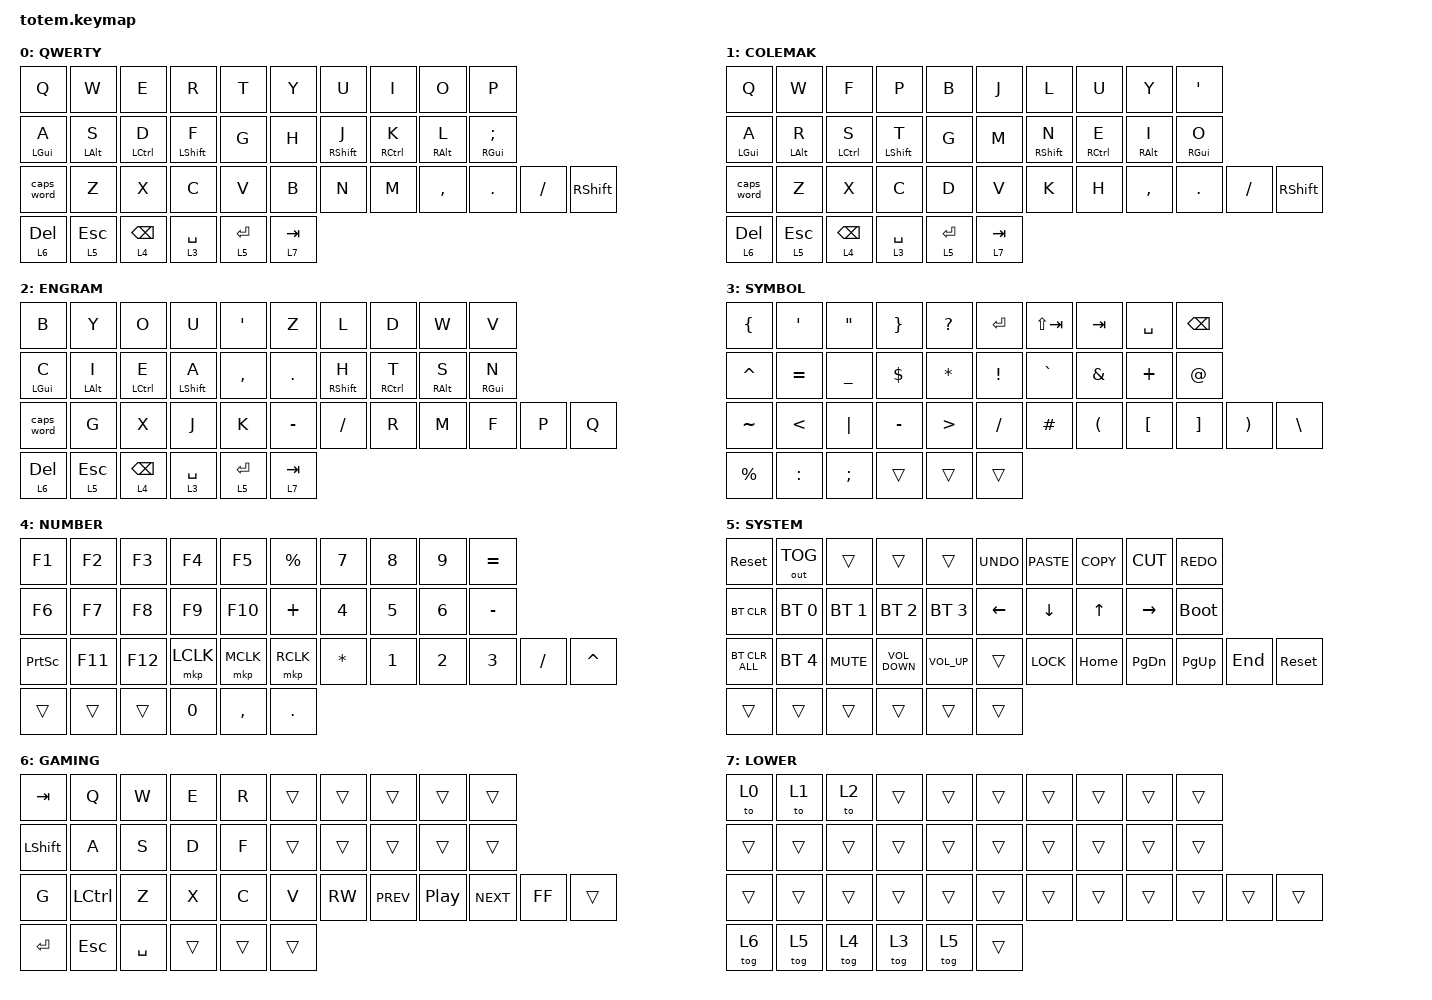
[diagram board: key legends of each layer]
//
//                                                        ▀▀▀▀▀     ▀▀▀▀▀          ▀▀█▀▀
//                                                        ▄▀▀▀▄  ▄  ▄▀▀▀▄  ▄  ▄▀▀▀▄  █  ▄▀▀▀▄
//                                                        █   █  █  █   █  █  █   █  █  █   █
//                                                         ▀▀▀   █   ▀▀▀   █   ▀▀▀   ▀   ▀▀▀
//                                                               █      ▄▄▄█▄▄▄    █   █  
//                                                               ▀      █  █  █     █▄█
//                                                             ▀▀▀▀▀    █  █  █      ▀
//                                                                      ▀  ▀  ▀
//
// ▄▄▄▄▄▄▄▄▄▄▄▄▄▄▄▄▄▄▄▄▄▄▄▄▄▄▄▄▄▄▄▄▄▄▄▄▄▄▄▄▄▄▄▄▄▄▄▄▄▄▄▄▄▄▄▄▄▄▄▄▄▄▄▄▄▄▄▄▄▄▄▄▄▄▄▄▄▄▄▄▄▄▄▄▄▄▄▄▄▄▄▄▄▄▄▄▄▄▄▄▄▄▄▄▄▄▄▄▄▄▄▄▄▄▄▄▄▄▄▄▄▄▄▄▄▄▄▄▄▄▄▄▄▄▄▄▄▄▄▄▄▄▄▄▄▄▄▄▄

#include <behaviors.dtsi>
#include <dt-bindings/zmk/bt.h>
#include <dt-bindings/zmk/keys.h>
#include <dt-bindings/zmk/outputs.h>
#include <dt-bindings/zmk/pointing.h>

// Layer definitions

#define QWERTY  0
#define COLEMAK 1
#define ENGRAM  2
#define SYMBOL  3
#define NUMBER  4
#define SYSTEM  5
#define GAMING  6
#define LOWER   7

/ {
    behaviors {
        td0: td0 {
            compatible = "zmk,behavior-tap-dance";
            display-name = "Shift/Caps Lock Tap Dance";
            #binding-cells = <0>;
            bindings = <&kp LEFT_SHIFT>, <&kp CAPS>;
        };

        hrm_left: hrm_left {
            compatible = "zmk,behavior-hold-tap";
            label = "HRM_LEFT";
            bindings = <&kp>, <&kp>;

            #binding-cells = <2>;
            flavor = "tap-preferred";
            tapping-term-ms = <250>;
            quick-tap-ms = <300>;
            require-prior-idle-ms = <150>;
            hold-trigger-on-release;

            // Right side keys for TOTEM (38 keys)

            hold-trigger-key-positions = <5 6 7 8 9 15 16 17 18 19 26 27 28 29 30 31 35 36 37>;
        };

        hrm_right: hrm_right {
            compatible = "zmk,behavior-hold-tap";
            label = "HRM_RIGHT";
            bindings = <&kp>, <&kp>;

            #binding-cells = <2>;
            flavor = "tap-preferred";
            tapping-term-ms = <250>;
            quick-tap-ms = <300>;
            require-prior-idle-ms = <150>;
            hold-trigger-on-release;

            // Left side keys for TOTEM (38 keys)

            hold-trigger-key-positions = <0 1 2 3 4 10 11 12 13 14 20 21 22 23 24 25 32 33 34>;
        };

        layer_tap: layer_tap {
            compatible = "zmk,behavior-hold-tap";
            label = "LAYER_TAP";
            bindings = <&mo>, <&kp>;

            #binding-cells = <2>;
            quick-tap-ms = <150>;
            flavor = "balanced";
            tapping-term-ms = <170>;
        };
    };

    combos {
        compatible = "zmk,combos";

        combo_esc {
            timeout-ms = <50>;
            key-positions = <0 1>;
            bindings = <&kp ESC>;
        };
    };

    keymap {
        compatible = "zmk,keymap";

        // ▄▄▄▄▄▄▄▄▄▄▄▄▄▄▄▄▄▄▄▄▄▄▄▄▄▄▄▄▄▄▄▄▄▄▄▄▄▄▄▄▄▄▄▄▄▄▄▄▄▄▄▄▄▄▄▄▄▄▄▄▄▄▄▄▄▄▄▄▄▄▄▄▄▄▄▄▄▄▄▄▄▄▄▄▄▄▄▄▄▄▄▄▄▄▄▄▄▄▄▄▄▄▄▄▄▄▄▄▄▄▄▄▄▄▄▄▄▄▄▄▄▄▄▄▄▄▄▄▄▄▄▄▄▄▄▄▄▄▄▄▄▄▄▄▄▄▄▄▄

        qwerty_layer {
            // ┏━━━━━━━━━━━━━━━━━━━━━━━━━━━━━━━━━━━━━━━┓

            label = "QWERTY";

            // ┗━━━━━━━━━━━━━━━━━━━━━━━━━━━━━━━━━━━━━━━┛
            //             ┏━━━━━━━━━━━┳━━━━━━━━━━━┳━━━━━━━━━━━┳━━━━━━━━━━━┳━━━━━━━━━━━┓   ┏━━━━━━━━━━━┳━━━━━━━━━━━┳━━━━━━━━━━━┳━━━━━━━━━━━┳━━━━━━━━━━━┓
            //             ┃     Q     ┃     W     ┃     E     ┃     R     ┃     T     ┃   ┃     Y     ┃     U     ┃     I     ┃     O     ┃     P     ┃
            //             ┣━━━━━━━━━━━╋━━━━━━━━━━━╋━━━━━━━━━━━╋━━━━━━━━━━━╋━━━━━━━━━━━┫   ┣━━━━━━━━━━━╋━━━━━━━━━━━╋━━━━━━━━━━━╋━━━━━━━━━━━╋━━━━━━━━━━━┫
            //             ┃  A (GUI)  ┃  S (ALT)  ┃  D (CTRL) ┃  F (SHFT) ┃     G     ┃   ┃     H     ┃  J (SHFT) ┃  K (CTRL) ┃  L (ALT)  ┃  ; (GUI)  ┃
            // ┏━━━━━━━━━━━╋━━━━━━━━━━━╋━━━━━━━━━━━╋━━━━━━━━━━━╋━━━━━━━━━━━╋━━━━━━━━━━━┫   ┣━━━━━━━━━━━╋━━━━━━━━━━━╋━━━━━━━━━━━╋━━━━━━━━━━━╋━━━━━━━━━━━╋━━━━━━━━━━━┓
            // ┃   SHIFT   ┃     Z     ┃     X     ┃     C     ┃     V     ┃     B     ┃   ┃     N     ┃     M     ┃     ,     ┃     .     ┃     /     ┃    TAB    ┃
            // ┗━━━━━━━━━━━┻━━━━━━━━━━━┻━━━━━━━━━━━╋━━━━━━━━━━━╋━━━━━━━━━━━╋━━━━━━━━━━━┫   ┣━━━━━━━━━━━╋━━━━━━━━━━━╋━━━━━━━━━━━╋━━━━━━━━━━━┻━━━━━━━━━━━┻━━━━━━━━━━━┛
            //                                     ┃  DEL/GAM  ┃  ESC/SYS  ┃  BSPC/NUM ┃   ┃  SPC/SYM  ┃  ENT/SYS  ┃  TAB/LOW  ┃
            //                                     ┗━━━━━━━━━━━┻━━━━━━━━━━━┻━━━━━━━━━━━┛   ┗━━━━━━━━━━━┻━━━━━━━━━━━┻━━━━━━━━━━━┛

            bindings = <
&kp Q                &kp W             &kp E                   &kp R               &kp T               &kp Y             &kp U               &kp I               &kp O              &kp P
&hrm_left LGUI A     &hrm_left LALT S  &hrm_left LCTRL D       &hrm_left LSHFT F   &kp G               &kp H             &hrm_right RSHFT J  &hrm_right RCTRL K  &hrm_right RALT L  &hrm_right RGUI SEMI
&caps_word           &kp Z             &kp X                   &kp C               &kp V               &kp B             &kp N               &kp M               &kp COMMA          &kp DOT               &kp FSLH  &kp RIGHT_SHIFT
&layer_tap 6 DELETE  &layer_tap 5 ESC  &layer_tap 4 BACKSPACE  &layer_tap 3 SPACE  &layer_tap 5 ENTER  &layer_tap 7 TAB
            >;
        };

        // ▄▄▄▄▄▄▄▄▄▄▄▄▄▄▄▄▄▄▄▄▄▄▄▄▄▄▄▄▄▄▄▄▄▄▄▄▄▄▄▄▄▄▄▄▄▄▄▄▄▄▄▄▄▄▄▄▄▄▄▄▄▄▄▄▄▄▄▄▄▄▄▄▄▄▄▄▄▄▄▄▄▄▄▄▄▄▄▄▄▄▄▄▄▄▄▄▄▄▄▄▄▄▄▄▄▄▄▄▄▄▄▄▄▄▄▄▄▄▄▄▄▄▄▄▄▄▄▄▄▄▄▄▄▄▄▄▄▄▄▄▄▄▄▄▄▄▄▄▄

        colemak_layer {
            // ┏━━━━━━━━━━━━━━━━━━━━━━━━━━━━━━━━━━━━━━━┓

            label = "COLEMAK";

            // ┗━━━━━━━━━━━━━━━━━━━━━━━━━━━━━━━━━━━━━━━┛

            bindings = <
&kp Q                &kp W             &kp F                   &kp P               &kp B               &kp J             &kp L               &kp U               &kp Y              &kp APOS
&hrm_left LGUI A     &hrm_left LALT R  &hrm_left LCTRL S       &hrm_left LSHFT T   &kp G               &kp M             &hrm_right RSHFT N  &hrm_right RCTRL E  &hrm_right RALT I  &hrm_right RGUI O
&caps_word           &kp Z             &kp X                   &kp C               &kp D               &kp V             &kp K               &kp H               &kp COMMA          &kp DOT            &kp FSLH  &kp RIGHT_SHIFT
&layer_tap 6 DELETE  &layer_tap 5 ESC  &layer_tap 4 BACKSPACE  &layer_tap 3 SPACE  &layer_tap 5 ENTER  &layer_tap 7 TAB
            >;
        };

        // ▄▄▄▄▄▄▄▄▄▄▄▄▄▄▄▄▄▄▄▄▄▄▄▄▄▄▄▄▄▄▄▄▄▄▄▄▄▄▄▄▄▄▄▄▄▄▄▄▄▄▄▄▄▄▄▄▄▄▄▄▄▄▄▄▄▄▄▄▄▄▄▄▄▄▄▄▄▄▄▄▄▄▄▄▄▄▄▄▄▄▄▄▄▄▄▄▄▄▄▄▄▄▄▄▄▄▄▄▄▄▄▄▄▄▄▄▄▄▄▄▄▄▄▄▄▄▄▄▄▄▄▄▄▄▄▄▄▄▄▄▄▄▄▄▄▄▄▄▄

        engram_layer {
            // ┏━━━━━━━━━━━━━━━━━━━━━━━━━━━━━━━━━━━━━━━┓

            label = "ENGRAM";

            // ┗━━━━━━━━━━━━━━━━━━━━━━━━━━━━━━━━━━━━━━━┛

            bindings = <
&kp B                &kp Y             &kp O                   &kp U               &kp APOS            &kp Z             &kp L               &kp D               &kp W              &kp V
&hrm_left LGUI C     &hrm_left LALT I  &hrm_left LCTRL E       &hrm_left LSHFT A   &kp COMMA           &kp DOT           &hrm_right RSHFT H  &hrm_right RCTRL T  &hrm_right RALT S  &hrm_right RGUI N
&caps_word           &kp G             &kp X                   &kp J               &kp K               &kp MINUS         &kp FSLH            &kp R               &kp M              &kp F              &kp P  &kp Q
&layer_tap 6 DELETE  &layer_tap 5 ESC  &layer_tap 4 BACKSPACE  &layer_tap 3 SPACE  &layer_tap 5 ENTER  &layer_tap 7 TAB
            >;
        };

        // ▄▄▄▄▄▄▄▄▄▄▄▄▄▄▄▄▄▄▄▄▄▄▄▄▄▄▄▄▄▄▄▄▄▄▄▄▄▄▄▄▄▄▄▄▄▄▄▄▄▄▄▄▄▄▄▄▄▄▄▄▄▄▄▄▄▄▄▄▄▄▄▄▄▄▄▄▄▄▄▄▄▄▄▄▄▄▄▄▄▄▄▄▄▄▄▄▄▄▄▄▄▄▄▄▄▄▄▄▄▄▄▄▄▄▄▄▄▄▄▄▄▄▄▄▄▄▄▄▄▄▄▄▄▄▄▄▄▄▄▄▄▄▄▄▄▄▄▄▄

        symbol_layer {
            // ┏━━━━━━━━━━━━━━━━━━━━━━━━━━━━━━━━━━━━━━━┓

            label = "SYMBOL";

            // ┗━━━━━━━━━━━━━━━━━━━━━━━━━━━━━━━━━━━━━━━┛
            //             ┏━━━━━━━━━━━┳━━━━━━━━━━━┳━━━━━━━━━━━┳━━━━━━━━━━━┳━━━━━━━━━━━┓   ┏━━━━━━━━━━━┳━━━━━━━━━━━┳━━━━━━━━━━━┳━━━━━━━━━━━┳━━━━━━━━━━━┓
            //             ┃     {     ┃     '     ┃     "     ┃     }     ┃     ?     ┃   ┃   ENTER   ┃  SH+TAB   ┃    TAB    ┃   SPACE   ┃   BSPC    ┃
            //             ┣━━━━━━━━━━━╋━━━━━━━━━━━╋━━━━━━━━━━━╋━━━━━━━━━━━╋━━━━━━━━━━━┫   ┣━━━━━━━━━━━╋━━━━━━━━━━━╋━━━━━━━━━━━╋━━━━━━━━━━━╋━━━━━━━━━━━┫
            //             ┃     ^     ┃     =     ┃     _     ┃     $     ┃     *     ┃   ┃     .     ┃     `     ┃     &     ┃     +     ┃     @     ┃
            // ┏━━━━━━━━━━━╋━━━━━━━━━━━╋━━━━━━━━━━━╋━━━━━━━━━━━╋━━━━━━━━━━━╋━━━━━━━━━━━┫   ┣━━━━━━━━━━━╋━━━━━━━━━━━╋━━━━━━━━━━━╋━━━━━━━━━━━╋━━━━━━━━━━━╋━━━━━━━━━━━┓
            // ┃     ~     ┃     <     ┃     |     ┃     -     ┃     >     ┃     /     ┃   ┃     ,     ┃     (     ┃     [     ┃     ]     ┃     )     ┃     \     ┃
            // ┗━━━━━━━━━━━┻━━━━━━━━━━━┻━━━━━━━━━━━╋━━━━━━━━━━━╋━━━━━━━━━━━╋━━━━━━━━━━━┫   ┣━━━━━━━━━━━╋━━━━━━━━━━━╋━━━━━━━━━━━╋━━━━━━━━━━━┻━━━━━━━━━━━┻━━━━━━━━━━━┛
            //                                     ┃     %     ┃     :     ┃     ;     ┃   ┃   (held)  ┃           ┃           ┃
            //                                     ┗━━━━━━━━━━━┻━━━━━━━━━━━┻━━━━━━━━━━━┛   ┗━━━━━━━━━━━┻━━━━━━━━━━━┻━━━━━━━━━━━┛

            bindings = <
&kp LEFT_BRACE  &kp SQT        &kp DOUBLE_QUOTES  &kp RIGHT_BRACE  &kp QUESTION      &kp ENTER  &kp LS(TAB)  &kp TAB               &kp SPACE         &kp BACKSPACE
&kp CARET       &kp EQUAL      &kp UNDERSCORE     &kp DOLLAR       &kp ASTERISK      &kp EXCL   &kp GRAVE    &kp AMPERSAND         &kp PLUS          &kp AT
&kp TILDE       &kp LESS_THAN  &kp PIPE           &kp MINUS        &kp GREATER_THAN  &kp SLASH  &kp HASH     &kp LEFT_PARENTHESIS  &kp LEFT_BRACKET  &kp RIGHT_BRACKET  &kp RIGHT_PARENTHESIS  &kp BACKSLASH
&kp PERCENT     &kp COLON      &kp SEMICOLON      &trans           &trans            &trans
            >;
        };

        // ▄▄▄▄▄▄▄▄▄▄▄▄▄▄▄▄▄▄▄▄▄▄▄▄▄▄▄▄▄▄▄▄▄▄▄▄▄▄▄▄▄▄▄▄▄▄▄▄▄▄▄▄▄▄▄▄▄▄▄▄▄▄▄▄▄▄▄▄▄▄▄▄▄▄▄▄▄▄▄▄▄▄▄▄▄▄▄▄▄▄▄▄▄▄▄▄▄▄▄▄▄▄▄▄▄▄▄▄▄▄▄▄▄▄▄▄▄▄▄▄▄▄▄▄▄▄▄▄▄▄▄▄▄▄▄▄▄▄▄▄▄▄▄▄▄▄▄▄▄

        number_layer {
            // ┏━━━━━━━━━━━━━━━━━━━━━━━━━━━━━━━━━━━━━━━┓

            label = "NUMBER";

            // ┗━━━━━━━━━━━━━━━━━━━━━━━━━━━━━━━━━━━━━━━┛
            //             ┏━━━━━━━━━━━┳━━━━━━━━━━━┳━━━━━━━━━━━┳━━━━━━━━━━━┳━━━━━━━━━━━┓   ┏━━━━━━━━━━━┳━━━━━━━━━━━┳━━━━━━━━━━━┳━━━━━━━━━━━┳━━━━━━━━━━━┓
            //             ┃    F1     ┃    F2     ┃    F3     ┃    F4     ┃    F5     ┃   ┃     %     ┃     7     ┃     8     ┃     9     ┃     =     ┃
            //             ┣━━━━━━━━━━━╋━━━━━━━━━━━╋━━━━━━━━━━━╋━━━━━━━━━━━╋━━━━━━━━━━━┫   ┣━━━━━━━━━━━╋━━━━━━━━━━━╋━━━━━━━━━━━╋━━━━━━━━━━━╋━━━━━━━━━━━┫
            //             ┃    F6     ┃    F7     ┃    F8     ┃    F9     ┃   F10     ┃   ┃     +     ┃     4     ┃     5     ┃     6     ┃     -     ┃
            // ┏━━━━━━━━━━━╋━━━━━━━━━━━╋━━━━━━━━━━━╋━━━━━━━━━━━╋━━━━━━━━━━━╋━━━━━━━━━━━┫   ┣━━━━━━━━━━━╋━━━━━━━━━━━╋━━━━━━━━━━━╋━━━━━━━━━━━╋━━━━━━━━━━━╋━━━━━━━━━━━┓
            // ┃  PRTSCR   ┃   F11     ┃   F12     ┃           ┃           ┃           ┃   ┃     *     ┃     1     ┃     2     ┃     3     ┃     /     ┃     ^     ┃
            // ┗━━━━━━━━━━━┻━━━━━━━━━━━┻━━━━━━━━━━━╋━━━━━━━━━━━╋━━━━━━━━━━━╋━━━━━━━━━━━┫   ┣━━━━━━━━━━━╋━━━━━━━━━━━╋━━━━━━━━━━━╋━━━━━━━━━━━┻━━━━━━━━━━━┻━━━━━━━━━━━┛
            //                                     ┃           ┃           ┃   (held)  ┃   ┃     0     ┃     ,     ┃     .     ┃
            //                                     ┗━━━━━━━━━━━┻━━━━━━━━━━━┻━━━━━━━━━━━┛   ┗━━━━━━━━━━━┻━━━━━━━━━━━┻━━━━━━━━━━━┛

            bindings = <
&kp F1           &kp F2   &kp F3   &kp F4     &kp F5     &kp PERCENT  &kp N7        &kp N8  &kp N9  &kp EQUAL
&kp F6           &kp F7   &kp F8   &kp F9     &kp F10    &kp PLUS     &kp N4        &kp N5  &kp N6  &kp MINUS
&kp PRINTSCREEN  &kp F11  &kp F12  &mkp LCLK  &mkp MCLK  &mkp RCLK    &kp ASTERISK  &kp N1  &kp N2  &kp N3     &kp FSLH  &kp CARET
&trans           &trans   &trans   &kp N0     &kp COMMA  &kp DOT
            >;
        };

        // ▄▄▄▄▄▄▄▄▄▄▄▄▄▄▄▄▄▄▄▄▄▄▄▄▄▄▄▄▄▄▄▄▄▄▄▄▄▄▄▄▄▄▄▄▄▄▄▄▄▄▄▄▄▄▄▄▄▄▄▄▄▄▄▄▄▄▄▄▄▄▄▄▄▄▄▄▄▄▄▄▄▄▄▄▄▄▄▄▄▄▄▄▄▄▄▄▄▄▄▄▄▄▄▄▄▄▄▄▄▄▄▄▄▄▄▄▄▄▄▄▄▄▄▄▄▄▄▄▄▄▄▄▄▄▄▄▄▄▄▄▄▄▄▄▄▄▄▄▄

        system_layer {
            // ┏━━━━━━━━━━━━━━━━━━━━━━━━━━━━━━━━━━━━━━━┓

            label = "SYSTEM";

            // ┗━━━━━━━━━━━━━━━━━━━━━━━━━━━━━━━━━━━━━━━┛
            //             ┏━━━━━━━━━━━┳━━━━━━━━━━━┳━━━━━━━━━━━┳━━━━━━━━━━━┳━━━━━━━━━━━┓   ┏━━━━━━━━━━━┳━━━━━━━━━━━┳━━━━━━━━━━━┳━━━━━━━━━━━┳━━━━━━━━━━━┓
            //             ┃   RESET   ┃  OUT TOG  ┃           ┃           ┃           ┃   ┃   UNDO    ┃   PASTE   ┃   COPY    ┃    CUT    ┃   REDO    ┃
            //             ┣━━━━━━━━━━━╋━━━━━━━━━━━╋━━━━━━━━━━━╋━━━━━━━━━━━╋━━━━━━━━━━━┫   ┣━━━━━━━━━━━╋━━━━━━━━━━━╋━━━━━━━━━━━╋━━━━━━━━━━━╋━━━━━━━━━━━┫
            //             ┃  BT CLR   ┃   BT 0    ┃   BT 1    ┃   BT 2    ┃   BT 3    ┃   ┃   LEFT    ┃   DOWN    ┃    UP     ┃   RIGHT   ┃  BOOTLDR  ┃
            // ┏━━━━━━━━━━━╋━━━━━━━━━━━╋━━━━━━━━━━━╋━━━━━━━━━━━╋━━━━━━━━━━━╋━━━━━━━━━━━┫   ┣━━━━━━━━━━━╋━━━━━━━━━━━╋━━━━━━━━━━━╋━━━━━━━━━━━╋━━━━━━━━━━━╋━━━━━━━━━━━┓
            // ┃ BT CLRALL ┃   BT 4    ┃           ┃           ┃           ┃           ┃   ┃   LOCK    ┃   HOME    ┃  PG DOWN  ┃  PG UP    ┃    END    ┃  SYS RST  ┃
            // ┗━━━━━━━━━━━┻━━━━━━━━━━━┻━━━━━━━━━━━╋━━━━━━━━━━━╋━━━━━━━━━━━╋━━━━━━━━━━━┫   ┣━━━━━━━━━━━╋━━━━━━━━━━━╋━━━━━━━━━━━╋━━━━━━━━━━━┻━━━━━━━━━━━┻━━━━━━━━━━━┛
            //                                     ┃           ┃   (held)  ┃           ┃   ┃           ┃   (held)  ┃           ┃
            //                                     ┗━━━━━━━━━━━┻━━━━━━━━━━━┻━━━━━━━━━━━┛   ┗━━━━━━━━━━━┻━━━━━━━━━━━┻━━━━━━━━━━━┛

            bindings = <
&sys_reset      &out OUT_TOG  &trans        &trans             &trans           &kp K_UNDO  &kp K_PASTE  &kp K_COPY  &kp K_CUT  &kp K_REDO
&bt BT_CLR      &bt BT_SEL 0  &bt BT_SEL 1  &bt BT_SEL 2       &bt BT_SEL 3     &kp LEFT    &kp DOWN     &kp UP      &kp RIGHT  &bootloader
&bt BT_CLR_ALL  &bt BT_SEL 4  &kp C_MUTE    &kp C_VOLUME_DOWN  &kp C_VOLUME_UP  &trans      &kp K_LOCK   &kp HOME    &kp PG_DN  &kp PG_UP    &kp END  &sys_reset
&trans          &trans        &trans        &trans             &trans           &trans
            >;
        };

        // ▄▄▄▄▄▄▄▄▄▄▄▄▄▄▄▄▄▄▄▄▄▄▄▄▄▄▄▄▄▄▄▄▄▄▄▄▄▄▄▄▄▄▄▄▄▄▄▄▄▄▄▄▄▄▄▄▄▄▄▄▄▄▄▄▄▄▄▄▄▄▄▄▄▄▄▄▄▄▄▄▄▄▄▄▄▄▄▄▄▄▄▄▄▄▄▄▄▄▄▄▄▄▄▄▄▄▄▄▄▄▄▄▄▄▄▄▄▄▄▄▄▄▄▄▄▄▄▄▄▄▄▄▄▄▄▄▄▄▄▄▄▄▄▄▄▄▄▄▄

        gaming_layer {
            // ┏━━━━━━━━━━━━━━━━━━━━━━━━━━━━━━━━━━━━━━━┓

            label = "GAMING";

            // ┗━━━━━━━━━━━━━━━━━━━━━━━━━━━━━━━━━━━━━━━┛
            //             ┏━━━━━━━━━━━┳━━━━━━━━━━━┳━━━━━━━━━━━┳━━━━━━━━━━━┳━━━━━━━━━━━┓   ┏━━━━━━━━━━━┳━━━━━━━━━━━┳━━━━━━━━━━━┳━━━━━━━━━━━┳━━━━━━━━━━━┓
            //             ┃    TAB    ┃     Q     ┃     W     ┃     E     ┃     R     ┃   ┃           ┃           ┃           ┃           ┃           ┃
            //             ┣━━━━━━━━━━━╋━━━━━━━━━━━╋━━━━━━━━━━━╋━━━━━━━━━━━╋━━━━━━━━━━━┫   ┣━━━━━━━━━━━╋━━━━━━━━━━━╋━━━━━━━━━━━╋━━━━━━━━━━━╋━━━━━━━━━━━┫
            //             ┃   SHIFT   ┃     A     ┃     S     ┃     D     ┃     F     ┃   ┃           ┃           ┃           ┃           ┃           ┃
            // ┏━━━━━━━━━━━╋━━━━━━━━━━━╋━━━━━━━━━━━╋━━━━━━━━━━━╋━━━━━━━━━━━╋━━━━━━━━━━━┫   ┣━━━━━━━━━━━╋━━━━━━━━━━━╋━━━━━━━━━━━╋━━━━━━━━━━━╋━━━━━━━━━━━╋━━━━━━━━━━━┓
            // ┃     G     ┃   CTRL    ┃     Z     ┃     X     ┃     C     ┃     V     ┃   ┃    RW     ┃   PREV    ┃ PLAY/PAUS ┃   NEXT    ┃    FF     ┃           ┃
            // ┗━━━━━━━━━━━┻━━━━━━━━━━━┻━━━━━━━━━━━╋━━━━━━━━━━━╋━━━━━━━━━━━╋━━━━━━━━━━━┫   ┣━━━━━━━━━━━╋━━━━━━━━━━━╋━━━━━━━━━━━╋━━━━━━━━━━━┻━━━━━━━━━━━┻━━━━━━━━━━━┛
            //                                     ┃   ENTER   ┃    ESC    ┃   SPACE   ┃   ┃           ┃           ┃           ┃
            //                                     ┗━━━━━━━━━━━┻━━━━━━━━━━━┻━━━━━━━━━━━┛   ┗━━━━━━━━━━━┻━━━━━━━━━━━┻━━━━━━━━━━━┛

            bindings = <
&kp TAB    &kp Q      &kp W      &kp E   &kp R   &trans  &trans    &trans      &trans    &trans
&kp LSHFT  &kp A      &kp S      &kp D   &kp F   &trans  &trans    &trans      &trans    &trans
&kp G      &kp LCTRL  &kp Z      &kp X   &kp C   &kp V   &kp C_RW  &kp C_PREV  &kp C_PP  &kp C_NEXT  &kp C_FF  &trans
&kp ENTER  &kp ESC    &kp SPACE  &trans  &trans  &trans
            >;
        };

        // ▄▄▄▄▄▄▄▄▄▄▄▄▄▄▄▄▄▄▄▄▄▄▄▄▄▄▄▄▄▄▄▄▄▄▄▄▄▄▄▄▄▄▄▄▄▄▄▄▄▄▄▄▄▄▄▄▄▄▄▄▄▄▄▄▄▄▄▄▄▄▄▄▄▄▄▄▄▄▄▄▄▄▄▄▄▄▄▄▄▄▄▄▄▄▄▄▄▄▄▄▄▄▄▄▄▄▄▄▄▄▄▄▄▄▄▄▄▄▄▄▄▄▄▄▄▄▄▄▄▄▄▄▄▄▄▄▄▄▄▄▄▄▄▄▄▄▄▄▄

        lower_layer {
            // ┏━━━━━━━━━━━━━━━━━━━━━━━━━━━━━━━━━━━━━━━┓

            label = "LOWER";

            // ┗━━━━━━━━━━━━━━━━━━━━━━━━━━━━━━━━━━━━━━━┛
            //             ┏━━━━━━━━━━━┳━━━━━━━━━━━┳━━━━━━━━━━━┳━━━━━━━━━━━┳━━━━━━━━━━━┓   ┏━━━━━━━━━━━┳━━━━━━━━━━━┳━━━━━━━━━━━┳━━━━━━━━━━━┳━━━━━━━━━━━┓
            //             ┃  QWERTY   ┃  COLEMAK  ┃  ENGRAM   ┃           ┃           ┃   ┃           ┃           ┃           ┃           ┃           ┃
            //             ┣━━━━━━━━━━━╋━━━━━━━━━━━╋━━━━━━━━━━━╋━━━━━━━━━━━╋━━━━━━━━━━━┫   ┣━━━━━━━━━━━╋━━━━━━━━━━━╋━━━━━━━━━━━╋━━━━━━━━━━━╋━━━━━━━━━━━┫
            //             ┃           ┃           ┃           ┃           ┃           ┃   ┃           ┃           ┃           ┃           ┃           ┃
            // ┏━━━━━━━━━━━╋━━━━━━━━━━━╋━━━━━━━━━━━╋━━━━━━━━━━━╋━━━━━━━━━━━╋━━━━━━━━━━━┫   ┣━━━━━━━━━━━╋━━━━━━━━━━━╋━━━━━━━━━━━╋━━━━━━━━━━━╋━━━━━━━━━━━╋━━━━━━━━━━━┓
            // ┃           ┃           ┃           ┃           ┃           ┃           ┃   ┃           ┃           ┃           ┃           ┃           ┃           ┃
            // ┗━━━━━━━━━━━┻━━━━━━━━━━━┻━━━━━━━━━━━╋━━━━━━━━━━━╋━━━━━━━━━━━╋━━━━━━━━━━━┫   ┣━━━━━━━━━━━╋━━━━━━━━━━━╋━━━━━━━━━━━╋━━━━━━━━━━━┻━━━━━━━━━━━┻━━━━━━━━━━━┛
            //                                     ┃  TG GAM   ┃  TG SYS   ┃  TG NUM   ┃   ┃  TG SYM   ┃  TG SYS   ┃   (held)  ┃
            //                                     ┗━━━━━━━━━━━┻━━━━━━━━━━━┻━━━━━━━━━━━┛   ┗━━━━━━━━━━━┻━━━━━━━━━━━┻━━━━━━━━━━━┛

            bindings = <
&to 0   &to 1   &to 2   &trans  &trans  &trans  &trans  &trans  &trans  &trans
&trans  &trans  &trans  &trans  &trans  &trans  &trans  &trans  &trans  &trans
&trans  &trans  &trans  &trans  &trans  &trans  &trans  &trans  &trans  &trans  &trans  &trans
&tog 6  &tog 5  &tog 4  &tog 3  &tog 5  &trans
            >;
        };
    };
};
